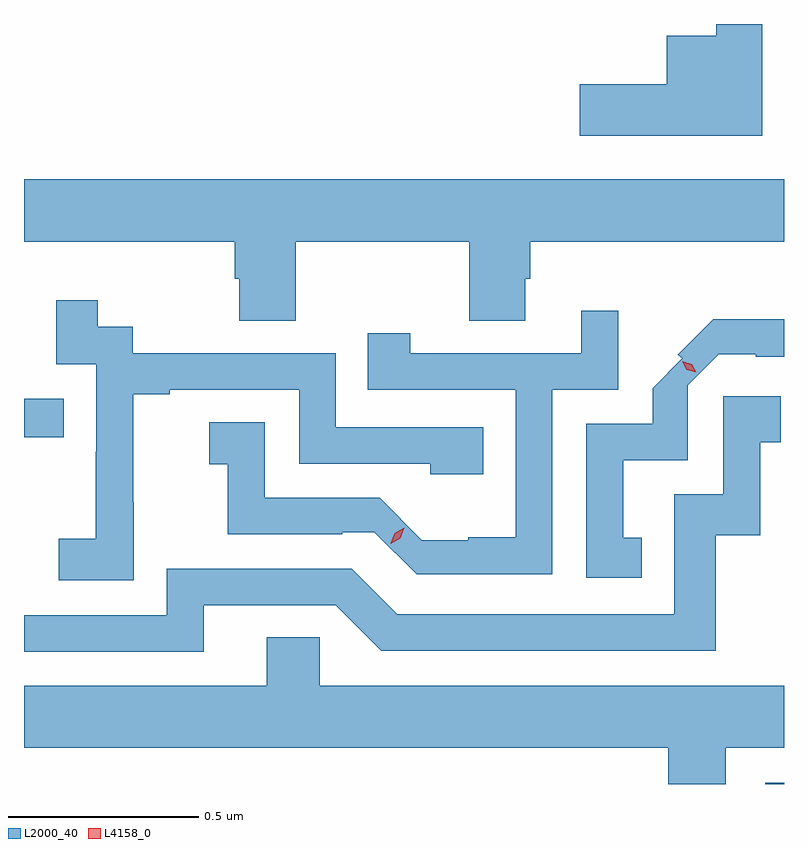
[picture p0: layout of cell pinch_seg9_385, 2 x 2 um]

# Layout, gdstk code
import gdstk
lib = gdstk.Library(unit=1e-6, precision=1e-09)
def R(c, l, rs):  # rectangles x0, y0, x1, y1
    for r in rs: c.add(gdstk.rectangle(r[:2], r[2:], *l))
def P(c, l, *ps):  # polygons
    for p in ps: c.add(gdstk.Polygon(p, *l))
L2000_40 = (2000, 40)
L4158_0 = (4158, 0)

pinch_seg9_385 = lib.new_cell('pinch_seg9_385')
R(pinch_seg9_385, L2000_40, [(390.729,1213.641,390.778,1213.644), (388.778,1214.554,388.883,1214.655)])
P(pinch_seg9_385, L2000_40, [(390.721,1215.641),(390.6,1215.641),(390.6,1215.61),(390.47,1215.61),(390.47,1215.482),(390.24,1215.482),(390.24,1215.347),(390.721,1215.347)],
  [(389.493,1215.068),(389.95,1215.068),(389.95,1214.86),(390.097,1214.86),(390.097,1214.97),(390.11,1214.97),(390.11,1215.068),(390.778,1215.068),(390.778,1215.232),(388.778,1215.232),(388.778,1215.068),(389.333,1215.068),(389.333,1214.97),(389.345,1214.97),(389.345,1214.86),(389.493,1214.86)],
  [(389.067,1214.383),(389.066,1214.383),(389.066,1214.667),(389.161,1214.667),(389.161,1214.679),(389.502,1214.679),(389.502,1214.484),(389.847,1214.484),(389.847,1214.456),(389.987,1214.456),(389.987,1214.58),(389.598,1214.58),(389.598,1214.775),(389.064,1214.775),(389.064,1214.844),(388.972,1214.844),(388.972,1214.914),(388.863,1214.914),(388.863,1214.745),(388.968,1214.745),(388.968,1214.516),(388.967,1214.516),(388.967,1214.287),(388.869,1214.287),(388.869,1214.177),(389.067,1214.177)],
  [(390.168,1214.679),(390.342,1214.679),(390.342,1214.887),(390.245,1214.887),(390.245,1214.775),(389.794,1214.775),(389.794,1214.827),(389.683,1214.827),(389.683,1214.679),(390.072,1214.679),(390.072,1214.29),(389.947,1214.29),(389.947,1214.283),(389.825,1214.283),(389.714,1214.394),(389.412,1214.394),(389.412,1214.593),(389.265,1214.593),(389.265,1214.483),(389.314,1214.483),(389.314,1214.298),(389.615,1214.298),(389.615,1214.304),(389.7,1214.304),(389.811,1214.193),(390.168,1214.193)],
  [(390.404,1214.289),(390.355,1214.289),(390.355,1214.493),(390.525,1214.493),(390.525,1214.691),(390.606,1214.772),(390.703,1214.772),(390.703,1214.766),(390.778,1214.766),(390.778,1214.864),(390.592,1214.864),(390.499,1214.771),(390.51,1214.761),(390.432,1214.683),(390.432,1214.589),(390.258,1214.589),(390.258,1214.184),(390.404,1214.184)],
  [(389.251,1214.112),(389.598,1214.112),(389.718,1213.992),(390.598,1213.992),(390.598,1214.295),(390.716,1214.295),(390.716,1214.541),(390.769,1214.541),(390.769,1214.662),(390.618,1214.662),(390.618,1214.403),(390.489,1214.403),(390.489,1214.088),(389.76,1214.088),(389.64,1214.208),(389.154,1214.208),(389.154,1214.085),(388.778,1214.085),(388.778,1213.989),(389.251,1213.989)],
  [(390.625,1213.736),(390.778,1213.736),(390.778,1213.9),(389.556,1213.9),(389.556,1214.027),(389.417,1214.027),(389.417,1213.9),(388.778,1213.9),(388.778,1213.736),(390.473,1213.736),(390.473,1213.641),(390.625,1213.641)])
P(pinch_seg9_385, L4158_0, [(390.547,1214.724),(390.522,1214.731),(390.51,1214.754),(390.51,1214.754),(390.51,1214.754),(390.535,1214.746),(390.547,1214.724),(390.547,1214.724)],
  [(389.743,1214.273),(389.743,1214.274),(389.753,1214.301),(389.778,1214.316),(389.778,1214.316),(389.778,1214.315),(389.768,1214.288),(389.743,1214.273)])

lib.write_gds('pinch_seg9_385.gds')
